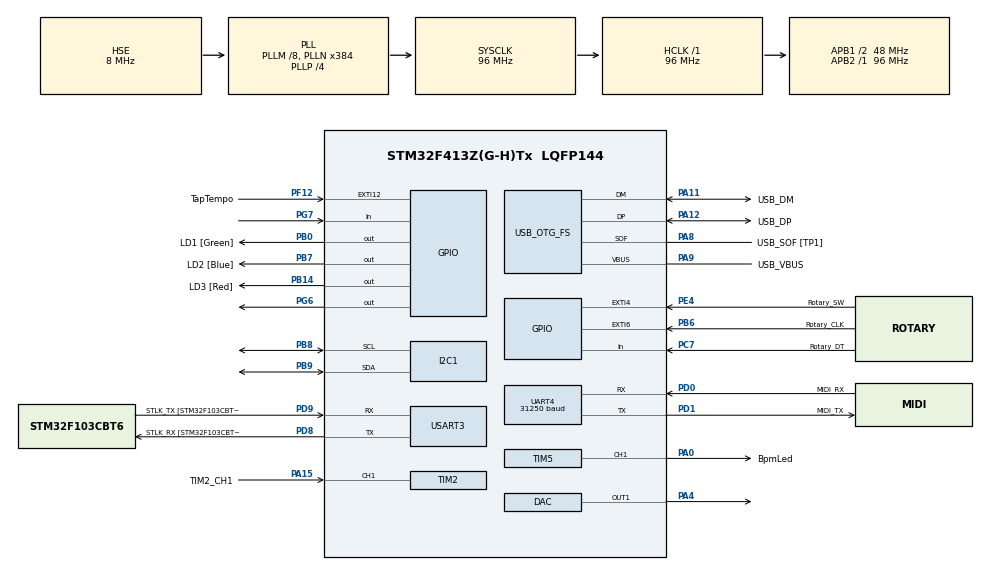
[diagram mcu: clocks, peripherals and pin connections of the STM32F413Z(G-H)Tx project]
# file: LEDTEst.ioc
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DAC.DAC_Trigger=DAC_TRIGGER_NONE
Mcu.Family=STM32F4
Mcu.Name=STM32F413Z(G-H)Tx
Mcu.Package=LQFP144
Mcu.UserConstants=sd,sd
NVIC.EXTI15_10_IRQn=true\:0\:0\:false\:false\:true\:true\:true\:true
NVIC.EXTI4_IRQn=true\:0\:0\:false\:false\:true\:true\:true\:true
NVIC.EXTI9_5_IRQn=true\:0\:0\:false\:false\:true\:true\:true\:true
NVIC.PriorityGroup=NVIC_PRIORITYGROUP_4
NVIC.TIM2_IRQn=true\:0\:0\:false\:false\:true\:true\:true\:true
NVIC.TIM3_IRQn=true\:0\:0\:false\:false\:true\:true\:true\:true
NVIC.TIM5_IRQn=true\:0\:0\:false\:false\:true\:true\:true\:true
NVIC.UART4_IRQn=true\:0\:0\:false\:false\:true\:true\:true\:true
PA0.GPIO_Label=BpmLed
PA0.Signal=S_TIM5_CH1
PA10.GPIO_Label=USB_ID
PA10.Signal=USB_OTG_FS_ID
PA11.GPIO_Label=USB_DM
PA11.Mode=Device_Only
PA11.Signal=USB_OTG_FS_DM
PA12.GPIO_Label=USB_DP
PA12.Mode=Device_Only
PA12.Signal=USB_OTG_FS_DP
PA13.GPIO_Label=TMS
PA13.Mode=Serial_Wire
PA13.Signal=SYS_JTMS-SWDIO
PA14.GPIO_Label=TCK
PA14.Mode=Serial_Wire
PA14.Signal=SYS_JTCK-SWCLK
PA15.GPIO_Label=TIM2_CH1
PA15.GPIO_PuPd=GPIO_PULLUP
PA15.Signal=S_TIM2_CH1_ETR
PA4.Signal=COMP_DAC1_group
PA8.GPIO_Label=USB_SOF [TP1]
PA8.Mode=Activate_SOF_FS
PA8.Signal=USB_OTG_FS_SOF
PA9.GPIO_Label=USB_VBUS
PA9.Mode=Activate_VBUS
PA9.Signal=USB_OTG_FS_VBUS
PB0.GPIO_Label=LD1 [Green]
PB0.Signal=GPIO_Output
PB14.GPIO_Label=LD3 [Red]
PB14.Signal=GPIO_Output
PB3.GPIO_Label=SWO
PB3.Signal=SYS_JTDO-SWO
PB6.GPIO_Label=Rotary_CLK
PB6.GPIO_ModeDefaultEXTI=GPIO_MODE_IT_RISING_FALLING
PB6.GPIO_PuPd=GPIO_NOPULL
PB6.Signal=GPXTI6
PB7.GPIO_Label=LD2 [Blue]
PB7.Signal=GPIO_Output
PB8.GPIO_Pu=GPIO_PULLUP
PB8.Mode=I2C
PB8.Signal=I2C1_SCL
PB9.GPIO_Pu=GPIO_PULLUP
PB9.Mode=I2C
PB9.Signal=I2C1_SDA
PC14-OSC32_IN.Mode=LSE-External-Oscillator
PC14-OSC32_IN.Signal=RCC_OSC32_IN
PC15-OSC32_OUT.Mode=LSE-External-Oscillator
PC15-OSC32_OUT.Signal=RCC_OSC32_OUT
PC7.GPIO_Label=Rotary_DT
PC7.GPIO_PuPd=GPIO_PULLUP
PC7.Signal=GPIO_Input
PD0.GPIO_Label=MIDI_RX
PD0.GPIO_ModeDefaultPP=GPIO_MODE_AF_PP
PD0.GPIO_PuPd=GPIO_PULLUP
PD0.Mode=Asynchronous
PD0.Signal=UART4_RX
PD1.GPIO_Label=MIDI_TX
PD1.GPIO_ModeDefaultPP=GPIO_MODE_AF_OD
PD1.GPIO_PuPd=GPIO_PULLUP
PD1.Mode=Asynchronous
PD1.Signal=UART4_TX
PD8.GPIO_Label=STLK_RX [STM32F103CBT6_PA3]
PD8.Mode=Asynchronous
PD8.Signal=USART3_TX
PD9.GPIO_Label=STLK_TX [STM32F103CBT6_PA2]
PD9.Mode=Asynchronous
PD9.Signal=USART3_RX
PE4.GPIO_Label=Rotary_SW
PE4.Signal=GPXTI4
PF12.GPIO_Label=TapTempo
PF12.GPIO_ModeDefaultEXTI=GPIO_MODE_IT_FALLING
PF12.GPIO_PuPd=GPIO_PULLUP
PF12.Signal=GPXTI12
PG6.Signal=GPIO_Output
PG7.Signal=GPIO_Input
PH0\ -\ OSC_IN.GPIO_Label=MCO
PH0\ -\ OSC_IN.Mode=HSE-External-Clock-Source
PH0\ -\ OSC_IN.Signal=RCC_OSC_IN
PH1\ -\ OSC_OUT.Mode=HSE-External-Clock-Source
PH1\ -\ OSC_OUT.Signal=RCC_OSC_OUT
ProjectManager.HeapSize=0x200
ProjectManager.StackSize=0x400
ProjectManager.TargetToolchain=STM32CubeIDE
RCC.48MHZClocksFreq_Value=24000000
RCC.AHBFreq_Value=96000000
RCC.APB1CLKDivider=RCC_HCLK_DIV2
RCC.APB1Freq_Value=48000000
RCC.APB1TimFreq_Value=96000000
RCC.APB2Freq_Value=96000000
RCC.APB2TimFreq_Value=96000000
RCC.CortexFreq_Value=96000000
RCC.HCLKFreq_Value=96000000
RCC.HSE_VALUE=8000000
RCC.HSI_VALUE=16000000
RCC.PLLM=8
RCC.PLLMUL=RCC_PLL_MUL9
RCC.PLLN=384
RCC.PLLP=RCC_PLLP_DIV4
RCC.PLLQ=8
RCC.PRESCALERUSB=RCC_USBCLKSOURCE_PLL_DIV1_5
RCC.SYSCLKFreq_VALUE=96000000
RCC.SYSCLKSource=RCC_SYSCLKSOURCE_PLLCLK
RCC.SYSCLKSourceVirtual=RCC_SYSCLKSOURCE_PLLCLK
RCC.USBFreq_Value=48000000
RCC.VCOOutputFreq_Value=384000000
SH.COMP_DAC1_group.0=DAC_OUT1,DAC_OUT1
SH.S_TIM2_CH1_ETR.0=TIM2_CH1,Input_Capture1_from_TI1
SH.S_TIM5_CH1.0=TIM5_CH1,PWM Generation1 CH1
STMicroelectronics.X-CUBE-TOUCHGFX.4.24.1_IsPackSelfContextualization=true
TIM2.Channel-Input_Capture1_from_TI1=TIM_CHANNEL_1
TIM2.ICPolarity_CH1=TIM_INPUTCHANNELPOLARITY_FALLING
TIM2.Period=4294967295
TIM2.Prescaler=96
TIM3.Period=9999
TIM3.Prescaler=9559
TIM5.Channel-PWM\ Generation1\ CH1=TIM_CHANNEL_1
TIM5.Period=5999999
TIM5.Prescaler=9599
TIM5.Pulse-PWM\ Generation1\ CH1=499
TIM5.TIM_MasterOutputTrigger=TIM_TRGO_RESET
TIM5.TIM_MasterSlaveMode=TIM_MASTERSLAVEMODE_DISABLE
UART4.BaudRate=31250
UART4.Mode=MODE_TX_RX
UART4.VirtualMode=Asynchronous
USART3.VirtualMode=VM_ASYNC
USB_OTG_FS.VirtualMode=Device_Only
VP_TIM3_VS_ClockSourceINT.Mode=Internal
VP_TIM5_VS_ClockSourceINT.Mode=Internal
board=NUCLEO-F413ZH

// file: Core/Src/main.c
/* USER CODE BEGIN Header */
/**
  ******************************************************************************
  * @file           : main.c
  * @brief          : Main program body
  ******************************************************************************
  * @attention
  *
  * Copyright (c) 2024 STMicroelectronics.
  * All rights reserved.
  *
  * This software is licensed under terms that can be found in the LICENSE file
  * in the root directory of this software component.
  * If no LICENSE file comes with this software, it is provided AS-IS.
  *
  ******************************************************************************
  */
/* USER CODE END Header */
#include "main.h"

/* USER CODE BEGIN Includes */
#include "../../I2C_LCD/I2C_LCD.h"
#include <stdio.h>
#include "timers.h"
#include "midiFunctions.h"

/* USER CODE END Includes */

/* USER CODE BEGIN PD */
#define LCD_1 I2C_LCD_1
UART_HandleTypeDef *MIDI_0;
/* USER CODE END PD */

/* USER CODE BEGIN PM */
uint8_t buffer [3];
/* USER CODE END PM */

DAC_HandleTypeDef hdac;

I2C_HandleTypeDef hi2c1;

TIM_HandleTypeDef htim2;
TIM_HandleTypeDef htim3;
TIM_HandleTypeDef htim5;

UART_HandleTypeDef huart4;
UART_HandleTypeDef huart3;

PCD_HandleTypeDef hpcd_USB_OTG_FS;

/* USER CODE BEGIN PV */
volatile uint8_t instance = 0;
volatile uint8_t channel = 0;
volatile uint8_t controllerNumber = 0;
volatile uint8_t controllerValue = 0;
volatile uint8_t programChangeNumber = 0;
volatile uint8_t system_event_flag = 0;
// Declare the received byte variable
uint8_t receivedByte;
uint8_t statusByteControlChange = 0;
uint8_t statusByteProgramChange = 0;
uint8_t statusControllerNumber = 0;
volatile uint8_t sendTapTempoFlag = 0;
volatile uint8_t previousStandbyScreenFlag = 0;  // Previous state of the flag

/* USER CODE END PV */

void SystemClock_Config(void);
static void MX_GPIO_Init(void);
static void MX_USART3_UART_Init(void);
static void MX_USB_OTG_FS_PCD_Init(void);
static void MX_I2C1_Init(void);
static void MX_UART4_Init(void);
static void MX_TIM2_Init(void);
static void MX_TIM5_Init(void);
static void MX_DAC_Init(void);
static void MX_TIM3_Init(void);
/* USER CODE BEGIN PFP */
void handleMidiMessage(void);
void sendTapTempo(void);
void restartTIM3(void);
/* USER CODE END PFP */

int main(void)
{

  /* USER CODE BEGIN 1 */
	    {
	        // Handle error
	    }
  /* USER CODE END 1 */

  /* MCU Configuration--------------------------------------------------------*/

  /* Reset of all peripherals, Initializes the Flash interface and the Systick. */
  HAL_Init();

  /* Configure the system clock */
  SystemClock_Config();

  /* USER CODE BEGIN SysInit */
  HAL_Delay(1000);
  /* USER CODE END SysInit */

  /* Initialize all configured peripherals */
  MX_GPIO_Init();
  MX_USART3_UART_Init();
  MX_USB_OTG_FS_PCD_Init();
  MX_I2C1_Init();
  MX_UART4_Init();
  MX_TIM2_Init();
  MX_TIM5_Init();
  MX_DAC_Init();
  MX_TIM3_Init();
  /* USER CODE BEGIN 2 */
  I2C_LCD_Init(LCD_1);
  configureTimer(&htim5, 120);
  HAL_TIM_IC_Start_IT(&htim2, TIM_CHANNEL_1);
  HAL_UART_Receive_IT(&huart4, &receivedByte, 1);
  HAL_TIM_Base_Start_IT(&htim3);
  // Start PWM signal
  HAL_TIM_PWM_Start(&htim5, TIM_CHANNEL_1);
  HAL_DAC_Start(&hdac, DAC_CHANNEL_1);     // Start DAC
  MIDI_0 = &huart4;

  /* USER CODE END 2 */

  /* Infinite loop */
  /* USER CODE BEGIN WHILE */

  while (1)
  {

	  if (system_event_flag & EVENT_MIDI_RECEIVED)
	      {
	          system_event_flag &= ~EVENT_MIDI_RECEIVED;  // Clear the MIDI event flag

	          switch (midi_event_type)
	          {
	              case 1: // Control Change
	                  displayPopup(CONTROL_CHANGE);
	                  //processControlChange(midi_data[0], midi_data[1]);
	                  break;

	              case 2: // Program Change
	                  displayPopup(PROGRAM_CHANGE);
	                  //processProgramChange(midi_data[0]);
	                  break;
	          }
	      }

	  if (system_event_flag & EVENT_TAP_TEMPO_PRESSED)
	      {
	          system_event_flag &= ~EVENT_TAP_TEMPO_PRESSED;  // Clear the OTHER event flag
	          calculateTapTempo();
	          updateBpm((uint32_t)currentBPM);
	          synchroniseTempo(&huart4);
	      }

	  if (system_event_flag & EVENT_SYNC_BUTTON_PRESSED)
	  	  {
		  	system_event_flag &= ~EVENT_SYNC_BUTTON_PRESSED;
		  	syncButtonPressed = 1;
		  	syncSamples = 6;
		  	displaySyncMessage();
	  	  }
    /* USER CODE END WHILE */

  }
}

void SystemClock_Config(void)
{
  RCC_OscInitTypeDef RCC_OscInitStruct = {0};
  RCC_ClkInitTypeDef RCC_ClkInitStruct = {0};

  /** Configure the main internal regulator output voltage
  */
  __HAL_RCC_PWR_CLK_ENABLE();
  __HAL_PWR_VOLTAGESCALING_CONFIG(PWR_REGULATOR_VOLTAGE_SCALE1);

  /** Initializes the RCC Oscillators according to the specified parameters
  * in the RCC_OscInitTypeDef structure.
  */
  RCC_OscInitStruct.OscillatorType = RCC_OSCILLATORTYPE_HSE;
  RCC_OscInitStruct.HSEState = RCC_HSE_BYPASS;
  RCC_OscInitStruct.PLL.PLLState = RCC_PLL_ON;
  RCC_OscInitStruct.PLL.PLLSource = RCC_PLLSOURCE_HSE;
  RCC_OscInitStruct.PLL.PLLM = 8;
  RCC_OscInitStruct.PLL.PLLN = 384;
  RCC_OscInitStruct.PLL.PLLP = RCC_PLLP_DIV4;
  RCC_OscInitStruct.PLL.PLLQ = 8;
  RCC_OscInitStruct.PLL.PLLR = 2;
  if (HAL_RCC_OscConfig(&RCC_OscInitStruct) != HAL_OK)
  {
    Error_Handler();
  }

  /** Initializes the CPU, AHB and APB buses clocks
  */
  RCC_ClkInitStruct.ClockType = RCC_CLOCKTYPE_HCLK|RCC_CLOCKTYPE_SYSCLK
                              |RCC_CLOCKTYPE_PCLK1|RCC_CLOCKTYPE_PCLK2;
  RCC_ClkInitStruct.SYSCLKSource = RCC_SYSCLKSOURCE_PLLCLK;
  RCC_ClkInitStruct.AHBCLKDivider = RCC_SYSCLK_DIV1;
  RCC_ClkInitStruct.APB1CLKDivider = RCC_HCLK_DIV2;
  RCC_ClkInitStruct.APB2CLKDivider = RCC_HCLK_DIV1;

  if (HAL_RCC_ClockConfig(&RCC_ClkInitStruct, FLASH_LATENCY_3) != HAL_OK)
  {
    Error_Handler();
  }
}

static void MX_DAC_Init(void)
{

  DAC_ChannelConfTypeDef sConfig = {0};

  /** DAC Initialization
  */
  hdac.Instance = DAC;
  if (HAL_DAC_Init(&hdac) != HAL_OK)
  {
    Error_Handler();
  }

  /** DAC channel OUT1 config
  */
  sConfig.DAC_Trigger = DAC_TRIGGER_NONE;
  sConfig.DAC_OutputBuffer = DAC_OUTPUTBUFFER_ENABLE;
  if (HAL_DAC_ConfigChannel(&hdac, &sConfig, DAC_CHANNEL_1) != HAL_OK)
  {
    Error_Handler();
  }

}

static void MX_I2C1_Init(void)
{

  hi2c1.Instance = I2C1;
  hi2c1.Init.ClockSpeed = 100000;
  hi2c1.Init.DutyCycle = I2C_DUTYCYCLE_2;
  hi2c1.Init.OwnAddress1 = 0;
  hi2c1.Init.AddressingMode = I2C_ADDRESSINGMODE_7BIT;
  hi2c1.Init.DualAddressMode = I2C_DUALADDRESS_DISABLE;
  hi2c1.Init.OwnAddress2 = 0;
  hi2c1.Init.GeneralCallMode = I2C_GENERALCALL_DISABLE;
  hi2c1.Init.NoStretchMode = I2C_NOSTRETCH_DISABLE;
  if (HAL_I2C_Init(&hi2c1) != HAL_OK)
  {
    Error_Handler();
  }

}

static void MX_TIM2_Init(void)
{

  TIM_MasterConfigTypeDef sMasterConfig = {0};
  TIM_IC_InitTypeDef sConfigIC = {0};

  htim2.Instance = TIM2;
  htim2.Init.Prescaler = 96;
  htim2.Init.CounterMode = TIM_COUNTERMODE_UP;
  htim2.Init.Period = 4294967295;
  htim2.Init.ClockDivision = TIM_CLOCKDIVISION_DIV1;
  htim2.Init.AutoReloadPreload = TIM_AUTORELOAD_PRELOAD_DISABLE;
  if (HAL_TIM_IC_Init(&htim2) != HAL_OK)
  {
    Error_Handler();
  }
  sMasterConfig.MasterOutputTrigger = TIM_TRGO_RESET;
  sMasterConfig.MasterSlaveMode = TIM_MASTERSLAVEMODE_DISABLE;
  if (HAL_TIMEx_MasterConfigSynchronization(&htim2, &sMasterConfig) != HAL_OK)
  {
    Error_Handler();
  }
  sConfigIC.ICPolarity = TIM_INPUTCHANNELPOLARITY_FALLING;
  sConfigIC.ICSelection = TIM_ICSELECTION_DIRECTTI;
  sConfigIC.ICPrescaler = TIM_ICPSC_DIV1;
  sConfigIC.ICFilter = 0;
  if (HAL_TIM_IC_ConfigChannel(&htim2, &sConfigIC, TIM_CHANNEL_1) != HAL_OK)
  {
    Error_Handler();
  }

}

static void MX_TIM3_Init(void)
{

  TIM_ClockConfigTypeDef sClockSourceConfig = {0};
  TIM_MasterConfigTypeDef sMasterConfig = {0};

  htim3.Instance = TIM3;
  htim3.Init.Prescaler = 9559;
  htim3.Init.CounterMode = TIM_COUNTERMODE_UP;
  htim3.Init.Period = 9999;
  htim3.Init.ClockDivision = TIM_CLOCKDIVISION_DIV1;
  htim3.Init.AutoReloadPreload = TIM_AUTORELOAD_PRELOAD_DISABLE;
  if (HAL_TIM_Base_Init(&htim3) != HAL_OK)
  {
    Error_Handler();
  }
  sClockSourceConfig.ClockSource = TIM_CLOCKSOURCE_INTERNAL;
  if (HAL_TIM_ConfigClockSource(&htim3, &sClockSourceConfig) != HAL_OK)
  {
    Error_Handler();
  }
  sMasterConfig.MasterOutputTrigger = TIM_TRGO_RESET;
  sMasterConfig.MasterSlaveMode = TIM_MASTERSLAVEMODE_DISABLE;
  if (HAL_TIMEx_MasterConfigSynchronization(&htim3, &sMasterConfig) != HAL_OK)
  {
    Error_Handler();
  }

}

static void MX_TIM5_Init(void)
{

  TIM_ClockConfigTypeDef sClockSourceConfig = {0};
  TIM_MasterConfigTypeDef sMasterConfig = {0};
  TIM_OC_InitTypeDef sConfigOC = {0};

  htim5.Instance = TIM5;
  htim5.Init.Prescaler = 9599;
  htim5.Init.CounterMode = TIM_COUNTERMODE_UP;
  htim5.Init.Period = 5999999;
  htim5.Init.ClockDivision = TIM_CLOCKDIVISION_DIV1;
  htim5.Init.AutoReloadPreload = TIM_AUTORELOAD_PRELOAD_DISABLE;
  if (HAL_TIM_Base_Init(&htim5) != HAL_OK)
  {
    Error_Handler();
  }
  sClockSourceConfig.ClockSource = TIM_CLOCKSOURCE_INTERNAL;
  if (HAL_TIM_ConfigClockSource(&htim5, &sClockSourceConfig) != HAL_OK)
  {
    Error_Handler();
  }
  if (HAL_TIM_PWM_Init(&htim5) != HAL_OK)
  {
    Error_Handler();
  }
  sMasterConfig.MasterOutputTrigger = TIM_TRGO_RESET;
  sMasterConfig.MasterSlaveMode = TIM_MASTERSLAVEMODE_DISABLE;
  if (HAL_TIMEx_MasterConfigSynchronization(&htim5, &sMasterConfig) != HAL_OK)
  {
    Error_Handler();
  }
  sConfigOC.OCMode = TIM_OCMODE_PWM1;
  sConfigOC.Pulse = 499;
  sConfigOC.OCPolarity = TIM_OCPOLARITY_HIGH;
  sConfigOC.OCFastMode = TIM_OCFAST_DISABLE;
  if (HAL_TIM_PWM_ConfigChannel(&htim5, &sConfigOC, TIM_CHANNEL_1) != HAL_OK)
  {
    Error_Handler();
  }
  /* USER CODE BEGIN TIM5_Init 2 */
  HAL_TIM_Base_Start_IT(&htim5);
  /* USER CODE END TIM5_Init 2 */
  HAL_TIM_MspPostInit(&htim5);

}

static void MX_UART4_Init(void)
{

  huart4.Instance = UART4;
  huart4.Init.BaudRate = 31250;
  huart4.Init.WordLength = UART_WORDLENGTH_8B;
  huart4.Init.StopBits = UART_STOPBITS_1;
  huart4.Init.Parity = UART_PARITY_NONE;
  huart4.Init.Mode = UART_MODE_TX_RX;
  huart4.Init.HwFlowCtl = UART_HWCONTROL_NONE;
  huart4.Init.OverSampling = UART_OVERSAMPLING_16;
  if (HAL_UART_Init(&huart4) != HAL_OK)
  {
    Error_Handler();
  }

}

static void MX_USART3_UART_Init(void)
{

  huart3.Instance = USART3;
  huart3.Init.BaudRate = 115200;
  huart3.Init.WordLength = UART_WORDLENGTH_8B;
  huart3.Init.StopBits = UART_STOPBITS_1;
  huart3.Init.Parity = UART_PARITY_NONE;
  huart3.Init.Mode = UART_MODE_TX_RX;
  huart3.Init.HwFlowCtl = UART_HWCONTROL_NONE;
  huart3.Init.OverSampling = UART_OVERSAMPLING_16;
  if (HAL_UART_Init(&huart3) != HAL_OK)
  {
    Error_Handler();
  }

}

static void MX_USB_OTG_FS_PCD_Init(void)
{

  hpcd_USB_OTG_FS.Instance = USB_OTG_FS;
  hpcd_USB_OTG_FS.Init.dev_endpoints = 6;
  hpcd_USB_OTG_FS.Init.speed = PCD_SPEED_FULL;
  hpcd_USB_OTG_FS.Init.dma_enable = DISABLE;
  hpcd_USB_OTG_FS.Init.phy_itface = PCD_PHY_EMBEDDED;
  hpcd_USB_OTG_FS.Init.Sof_enable = ENABLE;
  hpcd_USB_OTG_FS.Init.low_power_enable = DISABLE;
  hpcd_USB_OTG_FS.Init.lpm_enable = DISABLE;
  hpcd_USB_OTG_FS.Init.battery_charging_enable = ENABLE;
  hpcd_USB_OTG_FS.Init.vbus_sensing_enable = ENABLE;
  hpcd_USB_OTG_FS.Init.use_dedicated_ep1 = DISABLE;
  if (HAL_PCD_Init(&hpcd_USB_OTG_FS) != HAL_OK)
  {
    Error_Handler();
  }
  /* USER CODE BEGIN USB_OTG_FS_Init 2 */
  HAL_UART_Receive_IT(&huart4, &receivedByte, 1);
  /* USER CODE END USB_OTG_FS_Init 2 */

}

static void MX_GPIO_Init(void)
{
  GPIO_InitTypeDef GPIO_InitStruct = {0};

  /* GPIO Ports Clock Enable */
  __HAL_RCC_GPIOE_CLK_ENABLE();
  __HAL_RCC_GPIOC_CLK_ENABLE();
  __HAL_RCC_GPIOH_CLK_ENABLE();
  __HAL_RCC_GPIOA_CLK_ENABLE();
  __HAL_RCC_GPIOB_CLK_ENABLE();
  __HAL_RCC_GPIOF_CLK_ENABLE();
  __HAL_RCC_GPIOD_CLK_ENABLE();
  __HAL_RCC_GPIOG_CLK_ENABLE();

  /*Configure GPIO pin Output Level */
  HAL_GPIO_WritePin(GPIOB, LD1_Pin|LD3_Pin|LD2_Pin, GPIO_PIN_RESET);

  /*Configure GPIO pin Output Level */
  HAL_GPIO_WritePin(GPIOG, GPIO_PIN_6, GPIO_PIN_RESET);

  /*Configure GPIO pin : Rotary_SW_Pin */
  GPIO_InitStruct.Pin = Rotary_SW_Pin;
  GPIO_InitStruct.Mode = GPIO_MODE_IT_RISING;
  GPIO_InitStruct.Pull = GPIO_NOPULL;
  HAL_GPIO_Init(Rotary_SW_GPIO_Port, &GPIO_InitStruct);

  /*Configure GPIO pins : LD1_Pin LD3_Pin LD2_Pin */
  GPIO_InitStruct.Pin = LD1_Pin|LD3_Pin|LD2_Pin;
  GPIO_InitStruct.Mode = GPIO_MODE_OUTPUT_PP;
  GPIO_InitStruct.Pull = GPIO_NOPULL;
  GPIO_InitStruct.Speed = GPIO_SPEED_FREQ_LOW;
  HAL_GPIO_Init(GPIOB, &GPIO_InitStruct);

  /*Configure GPIO pin : TapTempo_Pin */
  GPIO_InitStruct.Pin = TapTempo_Pin;
  GPIO_InitStruct.Mode = GPIO_MODE_IT_FALLING;
  GPIO_InitStruct.Pull = GPIO_PULLUP;
  HAL_GPIO_Init(TapTempo_GPIO_Port, &GPIO_InitStruct);

  /*Configure GPIO pin : PG6 */
  GPIO_InitStruct.Pin = GPIO_PIN_6;
  GPIO_InitStruct.Mode = GPIO_MODE_OUTPUT_PP;
  GPIO_InitStruct.Pull = GPIO_NOPULL;
  GPIO_InitStruct.Speed = GPIO_SPEED_FREQ_LOW;
  HAL_GPIO_Init(GPIOG, &GPIO_InitStruct);

  /*Configure GPIO pin : PG7 */
  GPIO_InitStruct.Pin = GPIO_PIN_7;
  GPIO_InitStruct.Mode = GPIO_MODE_INPUT;
  GPIO_InitStruct.Pull = GPIO_NOPULL;
  HAL_GPIO_Init(GPIOG, &GPIO_InitStruct);

  /*Configure GPIO pin : Rotary_DT_Pin */
  GPIO_InitStruct.Pin = Rotary_DT_Pin;
  GPIO_InitStruct.Mode = GPIO_MODE_INPUT;
  GPIO_InitStruct.Pull = GPIO_PULLUP;
  HAL_GPIO_Init(Rotary_DT_GPIO_Port, &GPIO_InitStruct);

  /*Configure GPIO pin : Rotary_CLK_Pin */
  GPIO_InitStruct.Pin = Rotary_CLK_Pin;
  GPIO_InitStruct.Mode = GPIO_MODE_IT_RISING_FALLING;
  GPIO_InitStruct.Pull = GPIO_NOPULL;
  HAL_GPIO_Init(Rotary_CLK_GPIO_Port, &GPIO_InitStruct);

  /* EXTI interrupt init*/
  HAL_NVIC_SetPriority(EXTI4_IRQn, 0, 0);
  HAL_NVIC_EnableIRQ(EXTI4_IRQn);

  HAL_NVIC_SetPriority(EXTI9_5_IRQn, 0, 0);
  HAL_NVIC_EnableIRQ(EXTI9_5_IRQn);

  HAL_NVIC_SetPriority(EXTI15_10_IRQn, 0, 0);
  HAL_NVIC_EnableIRQ(EXTI15_10_IRQn);

}

/* USER CODE BEGIN 4 */
void HAL_TIM_MspInit(TIM_HandleTypeDef* tim_baseHandle)
{
    if(tim_baseHandle->Instance == TIM2)
    {
        /* TIM2 clock enable */
        __HAL_RCC_TIM2_CLK_ENABLE();

        /* TIM2 interrupt Init */
        HAL_NVIC_SetPriority(TIM2_IRQn, 0, 0);
        HAL_NVIC_EnableIRQ(TIM2_IRQn);
    }
    else if(tim_baseHandle->Instance == TIM3)
    {
        /* TIM3 clock enable */
        __HAL_RCC_TIM3_CLK_ENABLE();

        /* TIM3 interrupt Init */
        HAL_NVIC_SetPriority(TIM3_IRQn, 0, 0);
        HAL_NVIC_EnableIRQ(TIM3_IRQn);
    }
}

/* USER CODE END 4 */

void Error_Handler(void)
{
  __disable_irq();
  while (1)
  {
  }
}
